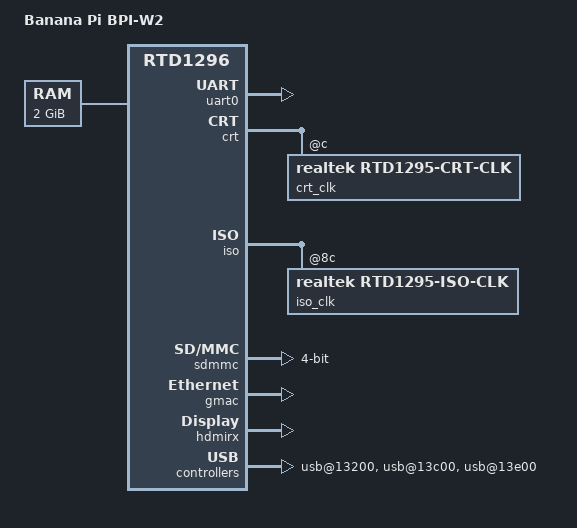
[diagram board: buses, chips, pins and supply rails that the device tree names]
// SPDX-License-Identifier: (GPL-2.0-or-later OR BSD-2-Clause)
/*
 * Banana Pi BPI-W2 (Realtek RTD1296), 2 GiB variant
 *
 * Bring-up board file for the mainline/LTS kernel line. It is deliberately
 * minimal: mainline already carries rtd1296.dtsi, and the BSP's own
 * rtd-1296-bananapi-w2-2GB.dts is ~400 lines of vendor-only bindings that
 * have no driver here. Nodes get added back as each milestone in
 * docs/09-mainline-bringup.md is reached.
 *
 * Boot chain is unchanged: the BSP u-boot 2015.07 loads this DTB to
 * 0x02100000, the Image to 0x03000000 and the initramfs to 0x02200000, then
 * runs `booti`. u-boot writes both bootargs and linux,initrd-start/end into
 * /chosen itself, so neither is set here.
 */

/dts-v1/;

#include "rtd1296.dtsi"

/ {
	compatible = "bananapi,bpi-w2", "realtek,rtd1296";
	model = "Banana Pi BPI-W2";

	aliases {
		ethernet0 = &gmac;
		serial0 = &uart0;
	};

	chosen {
		stdout-path = "serial0:115200n8";
	};

	/* Same 2 GiB layout as the DS418; the first 0x1f000 is boot ROM. */
	memory@1f000 {
		device_type = "memory";
		reg = <0x1f000 0x7ffe1000>;
	};

	reserved-memory {
		#address-cells = <1>;
		#size-cells = <1>;
		ranges;

		/*
		 * The BSP u-boot loads bluecore.audio to CONFIG_FW_LOADADDR
		 * (0x0f900000, 4 MiB reserved) before handing over, and the
		 * audio CPU may already be fetching from it. Nothing on this
		 * kernel line uses the ACPU, but letting Linux allocate over a
		 * running core is not worth the debugging.
		 */
		acpu_fw: audio-firmware@f900000 {
			reg = <0x0f900000 0x00400000>;
			no-map;
		};

		/* ACPU_IDMEM_PHYS / ACPU_IDMEM_SIZE in the BSP's memory.h */
		/*
		 * The audio core's ION heap. `boot a` hands the ACPU its
		 * firmware and it runs alongside Linux from then on, writing
		 * here -- but mainline reserves nothing for it, so the page
		 * allocator hands the same 12 MiB out and the two scribble
		 * over each other. It shows up late and far from the cause,
		 * as a corrupted SLUB pointer:
		 *
		 *   Unable to handle kernel paging request at virtual address 0000000080000018
		 *   pc : put_cpu_partial+0x7c/0x140
		 *   Call trace: __slab_free / kfree / bucket_table_free_rcu
		 *
		 * Values from the BSP's ION_AUDIO_HEAP_PHYS/SIZE.
		 */
		acpu_audio_heap: audio-heap@2600000 {
			reg = <0x02600000 0x00c00000>;
			no-map;
		};

		/*
		 * The video firmware's ION heaps. The ACPU's video path runs
		 * the whole time -- VO_SetVideoStandard, HDMI infoframes --
		 * and writes here. Until these were reserved the kernel was
		 * loaded at 0x08000000, i.e. inside heap 1, so the firmware
		 * was writing over the kernel's own image and the memory
		 * after it. Values from ION_MEDIA_HEAP_PHYS1/SIZE1 and
		 * ION_MEDIA_HEAP_PHYS2/SIZE2 in the BSP.
		 */
		ion_media1: media-heap@3200000 {
			reg = <0x03200000 0x0b800000>;
			no-map;
		};

		ion_media2: media-heap@11000000 {
			reg = <0x11000000 0x09200000>;
			no-map;
		};

		/*
		 * The two regions the BSP u-boot hands the OS as /memreserve/
		 * entries before it jumps -- seen on the serial console as
		 *
		 *   reserving fdt memory region: addr=1f000 size=e1000
		 *   reserving fdt memory region: addr=1b00000 size=4be000
		 *
		 * LK adds neither. On the eMMC path FSBL puts the bootcode at
		 * 0x20000..0xb37e0 and starts BL31 and OP-TEE, and with only
		 * 0x20000..0x2ffff reserved here Linux handed the rest out;
		 * the page allocator then died a few seconds into userspace.
		 * rtd129x.dtsi already has 0x1f000..0x1ffff as rpc@1f000, so
		 * the first region starts after it.
		 */
		bootcode: bootcode@20000 {
			reg = <0x00020000 0x000e0000>;
			no-map;
		};

		fw_reserved: firmware@1b00000 {
			reg = <0x01b00000 0x004be000>;
			no-map;
		};

		acpu_idmem: acpu-idmem@10000000 {
			reg = <0x10000000 0x00014000>;
			no-map;
		};
	};
};

&uart0 {
	status = "okay";
};

&crt {
	/*
	 * CLK_EN1/CLK_EN2 as gates; kernel/mainline/clk-rtd129x-crt.c.
	 * Specifier n is bit n of CLK_EN1, or bit n-32 of CLK_EN2.
	 */
	crt_clk: clock-controller@c {
		compatible = "realtek,rtd1295-crt-clk";
		reg = <0xc 0x8>;
		#clock-cells = <1>;
	};
};

&iso {
	/* The ISO clock gates (0x9800708c), same driver; specifier = bit. */
	iso_clk: clock-controller@8c {
		compatible = "realtek,rtd1295-iso-clk";
		reg = <0x8c 0x4>;
		#clock-cells = <1>;
	};
};

/* CLK_EN_USB, CLK_EN1 bit 4 */
#define RTD129X_CLK_EN_USB	4

/*
 * Every reset line the BSP u-boot releases in `usb start`
 * (arch/arm/cpu/armv8/rtd1295/usb.c, rtk_usb_clock_init). They are shared
 * by all the controllers, so each dwc3 lists all of them; dwc3 takes them
 * as a shared array and releases them before it touches the core.
 */
#define RTD129X_USB_RESETS \
	<&reset1 RTD1295_RSTN_USB3_PHY0_POW>, \
	<&reset1 RTD1295_RSTN_USB3_P0_MDIO>, \
	<&reset1 RTD1295_RSTN_USB>, \
	<&reset1 RTD1295_RSTN_USB_PHY0>, \
	<&reset1 RTD1295_RSTN_USB_PHY1>, \
	<&reset2 RTD1295_RSTN_USB_PHY3>, \
	<&reset2 RTD1295_RSTN_USB_PHY2>, \
	<&reset2 RTD1295_RSTN_USB3_PHY1_POW>, \
	<&reset2 RTD1295_RSTN_USB3_P1_MDIO>

/*
 * USB host ports.
 *
 * These belong in rtd129x.dtsi/rtd1296.dtsi eventually -- they describe the
 * SoC, not the board -- but they are still moving, and the board .dts is a
 * plain file while the .dtsi changes are patches. They move once they work.
 *
 * Addresses come from the BSP's rtd-129x-usb.dtsi, but the wrapper length
 * is 0x140, not the BSP's 0x200: the second reg entry (the pm control
 * register) sits at wrapper+0x160, so a 0x200 window swallows it and the
 * driver's own second request collides with its first --
 *   rtk-dwc3 98013c00.usb: error -EBUSY: can't request region for resource
 *   [mem 0x98013d60-0x98013d63]
 * which is why the upstream binding example uses 0x140.
 * Note the usb2phy reg
 * order is the reverse of the BSP's: mainline's binding is
 * <PHY data (wrapper)>, <PHY control (dwc3 core)>, and phy-rtk-usb2.c maps
 * index 0 to reg_wrap_vstatus and index 1 to reg_gusb2phyacc0.
 *
 * Port 0 is the Type-C port, as a device (below). Port 2, the EHCI/OHCI
 * pair, is not here: mainline has no driver for the BSP's
 * "Realtek,rtd129x-ehci".
 *
 * The USB clock gate and resets used to be left to the bootloader. LK runs
 * `usb start` and leaves them open, but the BSP u-boot on an SD boot does
 * not, and dwc3 then read garbage from GSNPSID. They are now claimed below
 * through crt_clk and reset1/reset2. Port power (VBUS) is still whatever
 * the bootloader set, since the BSP drives it from its "Realtek,usb-manager"
 * through GPIOs and mainline has no equivalent. It measured on after an SD
 * boot: the onboard hub enumerated.
 */
&rbus {
	/*
	 * The SD card slot.
	 *
	 * Only the card reader core is claimed. The BSP's node also maps the
	 * CRT/PLL block, SB2 and the DMA engine shared with the eMMC
	 * controller, but the first three overlap nodes rtd129x.dtsi already
	 * has -- CRT is `crt: syscon@0`, which requests its region, so asking
	 * for it here fails:
	 *
	 *   rtd129x-sdmmc 98000000.mmc: error -EBUSY: can't request region for
	 *   resource [mem 0x98000000-0x980003ff]
	 *
	 * The clock generator, CR_SD_CKGEN_CTL, is inside the core at offset
	 * 0x78. The SD PLL in CRT is reached through the crt syscon
	 * (realtek,crt) rather than a second mapping.
	 *
	 * No clocks or resets either: there is no clk or reset driver for this
	 * SoC in mainline and the driver treats both as optional, because the
	 * bootloader has already used this controller to read the kernel.
	 */
	sdmmc: mmc@10400 {
		compatible = "realtek,rtd1295-sdmmc";
		reg = <0x10400 0x200>;
		/*
		 * The SD PLL (PLL_SD3/4) is in CRT. The driver sets it to a
		 * known 100 MHz, which is what makes high speed (50 MHz)
		 * possible; without this it stays at its slow settings.
		 */
		realtek,crt = <&crt>;
		interrupts = <GIC_SPI 44 IRQ_TYPE_LEVEL_HIGH>;
		bus-width = <4>;
		cap-sd-highspeed;
	};

	/*
	 * The RJ45 next to the USB ports: the SoC's own gigabit MAC and PHY.
	 * (The second RJ45 is the hwnat switch, which has no usable driver --
	 * see docs/06-changes.md.)
	 *
	 * Realtek's binding, from the BSP's rtd-1296.dtsi, with the clocks
	 * dropped: there is no clock driver for this SoC in mainline and
	 * r8169soc gates the ETN clocks through the ISO block itself. The
	 * second reg is that ISO block. rtd129x.dtsi already has it as
	 * `iso: syscon@7000`, but the driver maps it with of_iomap(), which
	 * does not request the region, so the overlap does not collide the
	 * way the SD host's CRT window did.
	 */
	gmac: ethernet@16000 {
		compatible = "Realtek,r8168";
		reg = <0x16000 0x1000>, <0x7000 0x1000>;
		interrupts = <GIC_SPI 22 IRQ_TYPE_LEVEL_HIGH>;
		resets = <&iso_reset RTD1295_ISO_RSTN_GMAC>,
			 <&iso_reset RTD1295_ISO_RSTN_GPHY>;
		reset-names = "gmac", "gphy";
		rtl-config = <1>;
		mac-version = <42>;	/* RTL_GIGA_MAC_VER_42 */
		output-mode = <0>;	/* embedded PHY */
		rgmii-voltage = <1>;
		rgmii-tx-delay = <0>;
		rgmii-rx-delay = <0>;
		ext-phy-id = <1>;
	};

	/*
	 * HDMI input. kernel/mainline/hdmirx is Realtek's BSP driver with its
	 * V4L2 side rewritten for mainline; see docs/09 §10.
	 *
	 * Registers, in the order the driver indexes them: CBUS, the HDMI RX
	 * MAC/PHY, the RX wrapper, DDC, the MIPI PHY and the MIPI wrapper, from
	 * the BSP's rtd-1296.dtsi. "iso" and "crt" are mapped without being
	 * requested (both blocks belong to syscons in rtd129x.dtsi): the driver
	 * drives HPD and the DDC pin mux in ISO, and powers the RX SRAM in CRT.
	 */
	hdmirx: hdmirx@34000 {
		compatible = "realtek,rtd1295-hdmirx";
		reg = <0x37000 0xe0>,
		      <0x34000 0xf54>,
		      <0x35f00 0x2c>,
		      <0x37700 0x98>,
		      <0x04000 0xf0>,
		      <0x04100 0x104>,
		      <0x07000 0x1000>,
		      <0x00000 0x1000>;
		reg-names = "cbus", "mac", "wrapper", "ddc", "mipi-phy", "mipi",
			    "iso", "crt";
		interrupts = <GIC_SPI 23 IRQ_TYPE_LEVEL_HIGH>;

		clocks = <&crt_clk 56>,		/* CLK_EN2 24: HDMIRX */
			 <&crt_clk 27>,		/* CLK_EN1 27: MIPI */
			 <&crt_clk 39>,		/* CLK_EN2 7: CBUS_TX */
			 <&iso_clk 6>,		/* CBUS_OSC */
			 <&iso_clk 5>,		/* CBUS_SYS */
			 <&iso_clk 4>,		/* CBUSTX_SYS */
			 <&iso_clk 3>;		/* CBUSRX_SYS */
		clock-names = "hdmirx", "mipi", "cbus_tx", "cbus_osc",
			      "cbus_sys", "cbustx_sys", "cbusrx_sys";
		resets = <&reset4 RTD1295_RSTN_HDMIRX>,
			 <&reset4 RTD1295_RSTN_HDMIRX_WRAP>,
			 <&reset1 RTD1295_RSTN_MIPI>,
			 <&reset2 RTD1295_RSTN_CBUS_TX>,
			 <&iso_reset RTD1295_ISO_RSTN_CBUS>,
			 <&iso_reset RTD1295_ISO_RSTN_CBUSTX>,
			 <&iso_reset RTD1295_ISO_RSTN_CBUSRX>;
		reset-names = "hdmirx", "hdmirx_wrap", "mipi", "cbus_tx",
			      "cbus", "cbustx", "cbusrx";

		/*
		 * HPD: ISO GPIO 22, through an inverter. Source 5V is sensed
		 * over CBUS, not on a GPIO -- the BSP's BPI board file put
		 * 5V-detect on this same pin, which deadlocked HPD
		 * (docs/04-hdmi-rx-bringup.md, blocker 1).
		 */
		realtek,hpd-iso-pin = <22>;

		/*
		 * EDID served to the source: Realtek's default table from the
		 * BSP's rtd-1295-hdmirxEDID.dtsi (1080p60 preferred, the CEA
		 * block with an HDMI VSDB), and its HDMI 2.0 variant.
		 */
		realtek,edid = [
			00 ff ff ff ff ff ff 00 4a 8b 95 12 00 00 00 00
			ff 1a 01 03 81 46 27 78 8a a5 8e a6 54 4a 9c 26
			12 45 46 21 08 00 d1 c0 81 c0 01 01 01 01 01 01
			01 01 01 01 01 01 02 3a 80 18 71 38 2d 40 58 2c
			45 00 20 c2 31 00 00 1e 01 1d 00 72 51 d0 1e 20
			6e 28 55 00 20 c2 31 00 00 1e 00 00 00 fd 00 32
			4b 18 3c 0b 00 0a 20 20 20 20 20 20 00 00 00 fc
			00 52 54 44 31 32 39 35 0a 20 20 20 20 20 01 ac
			02 03 29 71 83 01 00 00 6e 03 0c 00 10 00 00 3c
			20 00 80 01 02 03 04 49 90 1f 22 20 05 14 04 11
			02 23 09 7f 07 e3 05 03 00 02 3a 80 18 71 38 2d
			40 58 2c 45 00 20 c2 31 00 00 1e 00 00 00 00 00
			00 00 00 00 00 00 00 00 00 00 00 00 00 00 00 00
			00 00 00 00 00 00 00 00 00 00 00 00 00 00 00 00
			00 00 00 00 00 00 00 00 00 00 00 00 00 00 00 00
			00 00 00 00 00 00 00 00 00 00 00 00 00 00 00 7f
		];
		realtek,edid-hdmi20 = [
			00 ff ff ff ff ff ff 00 4a 8b 95 12 00 00 00 00
			ff 1a 01 03 81 46 27 78 8a a5 8e a6 54 4a 9c 26
			12 45 46 21 08 00 d1 c0 81 c0 01 01 01 01 01 01
			01 01 01 01 01 01 02 3a 80 18 71 38 2d 40 58 2c
			45 00 20 c2 31 00 00 1e 01 1d 00 72 51 d0 1e 20
			6e 28 55 00 20 c2 31 00 00 1e 00 00 00 fd 00 32
			4b 18 3c 0b 00 0a 20 20 20 20 20 20 00 00 00 fc
			00 52 54 44 31 32 39 35 0a 20 20 20 20 20 01 ac
			02 03 3a 71 83 01 00 00 6e 03 0c 00 10 00 00 3c
			20 00 80 01 02 03 04 67 d8 5d c4 01 77 80 00 4f
			5d 5e 5f 60 61 62 90 1f 22 20 05 14 04 11 02 23
			09 7f 07 e3 05 03 00 e2 0f 18 08 e8 00 30 f2 70
			5a 80 b0 58 8a 00 20 c2 31 00 00 1e 00 00 00 00
			00 00 00 00 00 00 00 00 00 00 00 00 00 00 00 00
			00 00 00 00 00 00 00 00 00 00 00 00 00 00 00 00
			00 00 00 00 00 00 00 00 00 00 00 00 00 00 00 8f
		];
	};

	/*
	 * Port 0: the Type-C connector, as a USB device. It is how PiKVM
	 * presents its keyboard, mouse and mass storage to the target (kvmd-otg
	 * builds the gadget through configfs), so it is pinned to peripheral.
	 * No role switching and no CC handling: the port is meant to be cabled
	 * to the target, which supplies VBUS, and the board is powered from the
	 * DC jack. The BSP ended up in the same place on the main branch
	 * (docs/06-changes.md, patch 0006) after its Type-C driver kept flipping
	 * the port to host.
	 *
	 * Addresses from the BSP's rtd-129x-usb.dtsi, arranged like the host
	 * ports below (wrapper length 0x140; usb2phy reg order is <wrapper>,
	 * <dwc3 core>).
	 */
	usb_drd_usb2phy: usb-phy@13214 {
		compatible = "realtek,rtd1295-usb2phy";
		reg = <0x13214 0x4>, <0x28280 0x4>;
		#phy-cells = <0>;
	};

	usb_drd_usb3phy: usb-phy@13210 {
		compatible = "realtek,rtd1295-usb3phy";
		reg = <0x13210 0x4>;
		#phy-cells = <0>;
	};

	usb@13200 {
		compatible = "realtek,rtd1295-dwc3", "realtek,rtd-dwc3";
		reg = <0x13200 0x140>, <0x13360 0x4>;
		#address-cells = <1>;
		#size-cells = <1>;
		ranges;

		usb@20000 {
			compatible = "snps,dwc3";
			clocks = <&crt_clk RTD129X_CLK_EN_USB>;
			clock-names = "bus_early";
			resets = RTD129X_USB_RESETS;
			reg = <0x20000 0x9000>;
			interrupts = <GIC_SPI 21 IRQ_TYPE_LEVEL_HIGH>;
			phys = <&usb_drd_usb2phy>, <&usb_drd_usb3phy>;
			phy-names = "usb2-phy", "usb3-phy";
			dr_mode = "peripheral";
			snps,dis_u2_susphy_quirk;
		};
	};

	/* Port 1: USB 2.0 host */
	usb_u2host_usb2phy: usb-phy@13c14 {
		compatible = "realtek,rtd1295-usb2phy";
		reg = <0x13c14 0x4>, <0x31280 0x4>;
		#phy-cells = <0>;
	};

	usb@13c00 {
		compatible = "realtek,rtd1295-dwc3", "realtek,rtd-dwc3";
		reg = <0x13c00 0x140>, <0x13d60 0x4>;
		#address-cells = <1>;
		#size-cells = <1>;
		ranges;

		usb@29000 {
			compatible = "snps,dwc3";
			clocks = <&crt_clk RTD129X_CLK_EN_USB>;
			clock-names = "bus_early";
			resets = RTD129X_USB_RESETS;
			reg = <0x29000 0x9000>;
			interrupts = <GIC_SPI 21 IRQ_TYPE_LEVEL_HIGH>;
			phys = <&usb_u2host_usb2phy>;
			phy-names = "usb2-phy";
			dr_mode = "host";
			maximum-speed = "high-speed";
			snps,dis_u2_susphy_quirk;
		};
	};

	/* Port 3: USB 3.0 host */
	usb_u3host_usb2phy: usb-phy@13e14 {
		compatible = "realtek,rtd1295-usb2phy";
		reg = <0x13e14 0x4>, <0x1f8280 0x4>;
		#phy-cells = <0>;
	};

	usb_u3host_usb3phy: usb-phy@13e10 {
		compatible = "realtek,rtd1295-usb3phy";
		reg = <0x13e10 0x4>;
		#phy-cells = <0>;
	};

	usb@13e00 {
		compatible = "realtek,rtd1295-dwc3", "realtek,rtd-dwc3";
		reg = <0x13e00 0x140>, <0x13f60 0x4>;
		#address-cells = <1>;
		#size-cells = <1>;
		ranges;

		usb@1f0000 {
			compatible = "snps,dwc3";
			clocks = <&crt_clk RTD129X_CLK_EN_USB>;
			clock-names = "bus_early";
			resets = RTD129X_USB_RESETS;
			reg = <0x1f0000 0x9000>;
			interrupts = <GIC_SPI 21 IRQ_TYPE_LEVEL_HIGH>;
			phys = <&usb_u3host_usb2phy>, <&usb_u3host_usb3phy>;
			phy-names = "usb2-phy", "usb3-phy";
			dr_mode = "host";
			snps,dis_u2_susphy_quirk;
		};
	};
};
